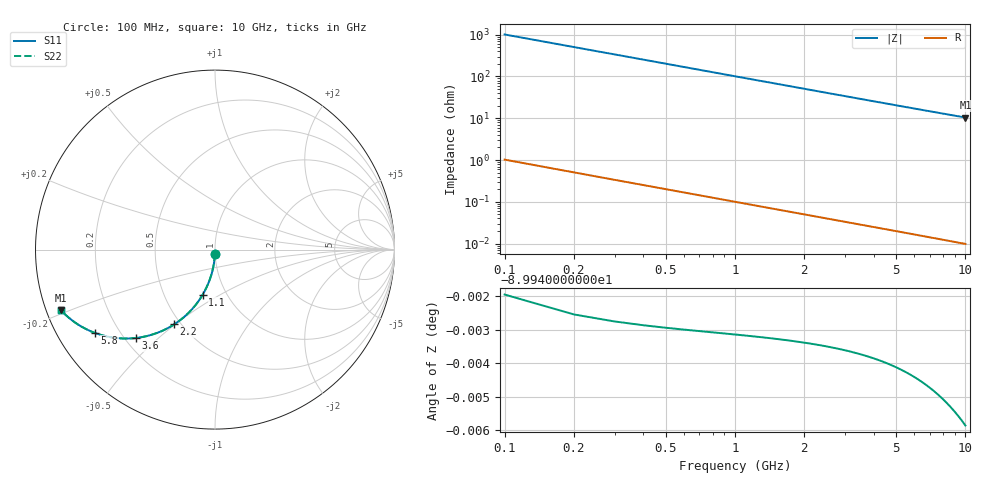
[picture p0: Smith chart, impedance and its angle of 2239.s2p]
# Hz S RI R 50.00
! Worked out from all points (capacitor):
!   100 points, 100 MHz to 10 GHz, reference 50 ohm
!   read as one part in shunt: C = 1.57 pF near 100 MHz
!   lowest |Z| = 10.4 ohm at 10 GHz (marker M1)
!   S11 on the Smith chart (normalised r, x): 100 MHz: 1.00, -0.05; 1.1 GHz: 0.77, -0.42; 2.2 GHz: 0.46, -0.50; 3.6 GHz: 0.24, -0.43; 5.8 GHz: 0.11, -0.31; 10 GHz: 0.04, -0.19
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1e8  -0.000617 -0.0246  0.9993 -0.0248  0.9993 -0.0248  -0.000617 -0.0246
2e8  -0.00247 -0.0491  0.9975 -0.0495  0.9975 -0.0495  -0.00247 -0.0491
3e8  -0.00552 -0.0734  0.9944 -0.074  0.9944 -0.074  -0.00552 -0.0734
4e8  -0.00975 -0.0975  0.9902 -0.0982  0.9902 -0.0982  -0.00975 -0.0975
5e8  -0.0151 -0.1211  0.9848 -0.1221  0.9848 -0.1221  -0.0151 -0.1211
6e8  -0.0216 -0.1444  0.9784 -0.1456  0.9784 -0.1456  -0.0216 -0.1444
7e8  -0.0292 -0.1671  0.9708 -0.1685  0.9708 -0.1685  -0.0292 -0.1671
9e8  -0.0472 -0.2108  0.9527 -0.2126  0.9527 -0.2126  -0.0472 -0.2108
1.1e9  -0.0689 -0.2517  0.9311 -0.2539  0.9311 -0.2539  -0.0689 -0.2517
1.4e9  -0.1069 -0.3071  0.8931 -0.3098  0.8931 -0.3098  -0.1069 -0.3071
1.8e9  -0.1649 -0.3688  0.8351 -0.3724  0.8351 -0.3724  -0.1649 -0.3688
2.2e9  -0.2275 -0.4166  0.7724 -0.4209  0.7724 -0.4209  -0.2275 -0.4166
2.8e9  -0.3225 -0.4642  0.6774 -0.4697  0.6774 -0.4697  -0.3225 -0.4642
3.4e9  -0.412 -0.4883  0.5879 -0.4951  0.5879 -0.4951  -0.412 -0.4883
3.6e9  -0.4398 -0.4923  0.5601 -0.4994  0.5601 -0.4994  -0.4398 -0.4923
4.3e9  -0.5279 -0.4944  0.472 -0.503  0.472 -0.503  -0.5279 -0.4944
5.1e9  -0.6109 -0.4819  0.389 -0.4921  0.389 -0.4921  -0.6109 -0.4819
5.8e9  -0.6698 -0.4639  0.3301 -0.4756  0.3301 -0.4756  -0.6698 -0.4639
6.7e9  -0.73 -0.4366  0.2699 -0.4502  0.2699 -0.4502  -0.73 -0.4366
7.5e9  -0.772 -0.4114  0.2278 -0.4266  0.2278 -0.4266  -0.772 -0.4114
8.4e9  -0.8094 -0.3836  0.1904 -0.4008  0.1904 -0.4008  -0.8094 -0.3836
1e10  -0.8576 -0.3385  0.1422 -0.3592  0.1422 -0.3592  -0.8576 -0.3385
